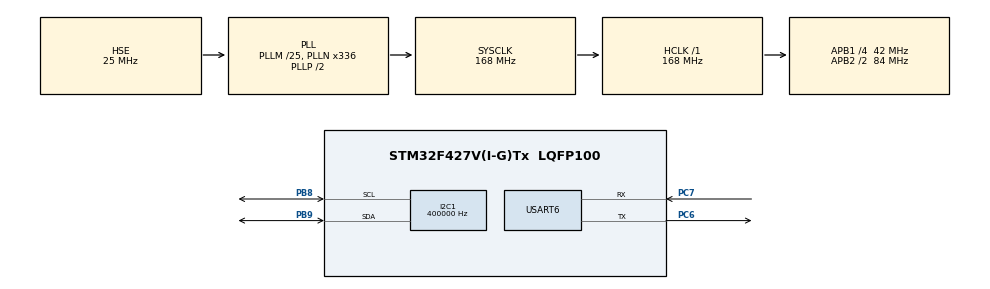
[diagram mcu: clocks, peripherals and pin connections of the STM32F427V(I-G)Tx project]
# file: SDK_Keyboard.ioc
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Mcu.Family=STM32F4
Mcu.Name=STM32F427V(I-G)Tx
Mcu.Package=LQFP100
NVIC.PriorityGroup=NVIC_PRIORITYGROUP_4
PA13.Mode=JTAG_5_pins
PA13.Signal=SYS_JTMS-SWDIO
PA14.Mode=JTAG_5_pins
PA14.Signal=SYS_JTCK-SWCLK
PA15.Mode=JTAG_5_pins
PA15.Signal=SYS_JTDI
PB3.Mode=JTAG_5_pins
PB3.Signal=SYS_JTDO-SWO
PB4.Mode=JTAG_5_pins
PB4.Signal=SYS_JTRST
PB8.Mode=I2C
PB8.Signal=I2C1_SCL
PB9.Mode=I2C
PB9.Signal=I2C1_SDA
PC6.Mode=Asynchronous
PC6.Signal=USART6_TX
PC7.Mode=Asynchronous
PC7.Signal=USART6_RX
PH0-OSC_IN.Mode=HSE-External-Oscillator
PH0-OSC_IN.Signal=RCC_OSC_IN
PH1-OSC_OUT.Mode=HSE-External-Oscillator
PH1-OSC_OUT.Signal=RCC_OSC_OUT
ProjectManager.HeapSize=0x200
ProjectManager.StackSize=0x400
ProjectManager.TargetToolchain=STM32CubeIDE
RCC.48MHZClocksFreq_Value=84000000
RCC.AHBFreq_Value=168000000
RCC.APB1CLKDivider=RCC_HCLK_DIV4
RCC.APB1Freq_Value=42000000
RCC.APB1TimFreq_Value=84000000
RCC.APB2CLKDivider=RCC_HCLK_DIV2
RCC.APB2Freq_Value=84000000
RCC.APB2TimFreq_Value=168000000
RCC.CortexFreq_Value=168000000
RCC.HCLKFreq_Value=168000000
RCC.HSE_VALUE=25000000
RCC.HSI_VALUE=16000000
RCC.LSE_VALUE=32768
RCC.PLLM=25
RCC.PLLN=336
RCC.PLLSourceVirtual=RCC_PLLSOURCE_HSE
RCC.SYSCLKFreq_VALUE=168000000
RCC.SYSCLKSource=RCC_SYSCLKSOURCE_PLLCLK
RCC.VCOOutputFreq_Value=336000000
USART6.VirtualMode=VM_ASYNC
board=custom
I2C1.ClockSpeed=400000

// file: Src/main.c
/* USER CODE BEGIN Header */
/**
  ******************************************************************************
  * @file           : main.c
  * @brief          : Main program body
  ******************************************************************************
  * @attention
  *
  * <h2><center>&copy; Copyright (c) 2019 STMicroelectronics.
  * All rights reserved.</center></h2>
  *
  * This software component is licensed by ST under BSD 3-Clause license,
  * the "License"; You may not use this file except in compliance with the
  * License. You may obtain a copy of the License at:
  *                        opensource.org/licenses/BSD-3-Clause
  *
  ******************************************************************************
  */
/* USER CODE END Header */

#include "main.h"
#include "i2c.h"
#include "usart.h"
#include "gpio.h"

/* USER CODE BEGIN Includes */
#include "FreeRTOS.h"
#include "task.h"
#include "queue.h"
#include "semphr.h"
#include "kb.h"
#include "sdk_uart.h"
#include "pca9538.h"
#include "oled.h"
#include "fonts.h"
#include "audio_clip.h"
#include "audio_adpcm.h"
#include <stdint.h>
#include <limits.h>
#include <stdio.h>
#include <string.h>
/* USER CODE END Includes */

void SystemClock_Config(void);
/* USER CODE BEGIN PFP */
static void Pong_InitRTOS(void);
static void Audio_Init(void);
/* USER CODE END PFP */

int main(void)
{

  /* MCU Configuration--------------------------------------------------------*/

  /* Reset of all peripherals, Initializes the Flash interface and the Systick. */
  HAL_Init();

  /* Configure the system clock */
  SystemClock_Config();

  /* Initialize all configured peripherals */
  MX_GPIO_Init();
  MX_I2C1_Init();
  MX_USART6_UART_Init();
  /* USER CODE BEGIN 2 */
  if (!oled_Init() || Set_Keyboard() != HAL_OK) Error_Handler();
  Audio_Init();
  Pong_InitRTOS();

  /* USER CODE END 2 */

  /* Infinite loop */
  while (1)
  {

    /* USER CODE BEGIN 3 */
      /* The FreeRTOS scheduler owns execution after Pong_InitRTOS(). */

  }
  /* USER CODE END 3 */
}

void SystemClock_Config(void)
{
  RCC_OscInitTypeDef RCC_OscInitStruct = {0};
  RCC_ClkInitTypeDef RCC_ClkInitStruct = {0};

  /** Configure the main internal regulator output voltage
  */
  __HAL_RCC_PWR_CLK_ENABLE();
  __HAL_PWR_VOLTAGESCALING_CONFIG(PWR_REGULATOR_VOLTAGE_SCALE1);
  /** Initializes the CPU, AHB and APB busses clocks
  */
  RCC_OscInitStruct.OscillatorType = RCC_OSCILLATORTYPE_HSE;
  RCC_OscInitStruct.HSEState = RCC_HSE_ON;
  RCC_OscInitStruct.PLL.PLLState = RCC_PLL_ON;
  RCC_OscInitStruct.PLL.PLLSource = RCC_PLLSOURCE_HSE;
  RCC_OscInitStruct.PLL.PLLM = 25;
  RCC_OscInitStruct.PLL.PLLN = 336;
  RCC_OscInitStruct.PLL.PLLP = RCC_PLLP_DIV2;
  RCC_OscInitStruct.PLL.PLLQ = 4;
  if (HAL_RCC_OscConfig(&RCC_OscInitStruct) != HAL_OK)
  {
    Error_Handler();
  }
  /** Initializes the CPU, AHB and APB busses clocks
  */
  RCC_ClkInitStruct.ClockType = RCC_CLOCKTYPE_HCLK|RCC_CLOCKTYPE_SYSCLK
                              |RCC_CLOCKTYPE_PCLK1|RCC_CLOCKTYPE_PCLK2;
  RCC_ClkInitStruct.SYSCLKSource = RCC_SYSCLKSOURCE_PLLCLK;
  RCC_ClkInitStruct.AHBCLKDivider = RCC_SYSCLK_DIV1;
  RCC_ClkInitStruct.APB1CLKDivider = RCC_HCLK_DIV4;
  RCC_ClkInitStruct.APB2CLKDivider = RCC_HCLK_DIV2;

  if (HAL_RCC_ClockConfig(&RCC_ClkInitStruct, FLASH_LATENCY_5) != HAL_OK)
  {
    Error_Handler();
  }
}

/* USER CODE BEGIN 4 */
/* PONG CORE BEGIN: hardware-independent rules, coordinates in 1/512 pixel (ball speed halved). */
#define KEY_1    (1u << 0)
#define KEY_2    (1u << 1)
#define KEY_3    (1u << 2)
#define KEY_5    (1u << 4)
#define KEY_7    (1u << 6)
#define KEY_0    (1u << 10)
#define KEY_9    (1u << 8)
#define Q 512
#define FIELD_TOP 14
#define FIELD_BOTTOM 62
#define PADDLE_HEIGHT 14
#define WIN_SCORE 7
#define GAME_PERIOD_MS 10

typedef enum { MENU, COUNTDOWN, PLAYING, PAUSED, FINISHED } GameMode;
typedef struct {
  GameMode mode;
  int32_t left_y, right_y, ball_x, ball_y, vx, vy;
  uint32_t deadline;
  uint16_t rally, best_rally;
  uint8_t left_score, right_score, winner, serve_id, countdown;
  int8_t serve_direction;
} Pong;

static int32_t Clamp(int32_t value, int32_t low, int32_t high)
{
  return value < low ? low : value > high ? high : value;
}

static void Pong_Serve(Pong *g, uint32_t now, uint32_t delay)
{
  g->ball_x = 64 * Q;
  g->ball_y = 38 * Q;
  g->vx = g->serve_direction * 230;
  g->vy = (g->serve_id++ & 1u) ? 115 : -115;
  g->rally = 0;
  g->deadline = now + delay;
  g->countdown = (uint8_t)((delay + 999u) / 1000u);
  g->mode = COUNTDOWN;
}

static void Pong_Init(Pong *g)
{
  memset(g, 0, sizeof(*g));
  g->left_y = g->right_y = 31 * Q;
  g->ball_x = 64 * Q;
  g->ball_y = 38 * Q;
  g->serve_direction = 1;
  g->mode = MENU;
}

static void Pong_Start(Pong *g, uint32_t now)
{
  uint16_t best = g->best_rally;
  Pong_Init(g);
  g->best_rally = best;
  Pong_Serve(g, now, 3000);
}

static void Pong_MovePaddles(Pong *g, uint16_t keys)
{
  int32_t step = 840; /* 164 pixels/second, independent of OLED refresh. */
  int left = !!(keys & KEY_7) - !!(keys & KEY_1);
  int right = !!(keys & KEY_9) - !!(keys & KEY_3);
  g->left_y = Clamp(g->left_y + left * step, FIELD_TOP * Q,
                     (FIELD_BOTTOM - PADDLE_HEIGHT + 1) * Q);
  g->right_y = Clamp(g->right_y + right * step, FIELD_TOP * Q,
                      (FIELD_BOTTOM - PADDLE_HEIGHT + 1) * Q);
}

static void Pong_Bounce(Pong *g, int32_t paddle_y, int direction)
{
  int32_t speed = g->vx < 0 ? -g->vx : g->vx;
  int32_t offset = g->ball_y - (paddle_y + (PADDLE_HEIGHT / 2) * Q);
  speed = Clamp(speed + 22, 230, 650); /* Faster on every return, with a cap. */
  g->vx = direction * speed;
  g->vy = Clamp(offset * speed / (8 * Q), -500, 500);
  if (g->vy > -65 && g->vy < 65) g->vy = offset < 0 ? -65 : 65;
  ++g->rally;
  if (g->rally > g->best_rally) g->best_rally = g->rally;
}

/* Returns the player who scored (0 = no goal). */
static uint8_t Pong_Physics(Pong *g, uint32_t now)
{
  int32_t old_x = g->ball_x, old_y = g->ball_y;
  int32_t next_x = old_x + g->vx, next_y = old_y + g->vy;
  int32_t top = (FIELD_TOP + 1) * Q, bottom = (FIELD_BOTTOM - 1) * Q;
  if (next_y < top) { next_y = 2 * top - next_y; g->vy = -g->vy; }
  if (next_y > bottom) { next_y = 2 * bottom - next_y; g->vy = -g->vy; }
  g->ball_y = next_y;

  /* Test the crossed paddle plane; interpolate Y to prevent tunnelling. */
  int32_t plane = g->vx < 0 ? 7 * Q : 120 * Q;
  if ((g->vx < 0 && old_x >= plane && next_x <= plane) ||
      (g->vx > 0 && old_x <= plane && next_x >= plane)) {
    int32_t hit_y = old_y + (next_y - old_y) * (plane - old_x) / (next_x - old_x);
    int32_t paddle = g->vx < 0 ? g->left_y : g->right_y;
    if (hit_y + Q >= paddle && hit_y - Q <= paddle + (PADDLE_HEIGHT - 1) * Q) {
      int direction = g->vx < 0 ? 1 : -1;
      g->ball_y = hit_y;
      Pong_Bounce(g, paddle, direction);
      next_x = plane + direction * Q;
    }
  }
  g->ball_x = next_x;
  uint8_t scorer = 0;
  if (next_x < -Q) { ++g->right_score; scorer = 2; g->serve_direction = -1; }
  if (next_x > 128 * Q) { ++g->left_score; scorer = 1; g->serve_direction = 1; }
  if (scorer) {
    if (g->left_score >= WIN_SCORE || g->right_score >= WIN_SCORE) {
      g->winner = scorer;
      g->mode = FINISHED;
    } else {
      Pong_Serve(g, now, 1500);
    }
  }
  return scorer;
}

static uint8_t Pong_Tick(Pong *g, uint16_t held, uint16_t pressed, uint32_t now)
{
  if (pressed & KEY_5) { g->mode = MENU; return 0; }
  if (g->mode == MENU || g->mode == FINISHED) {
    if (pressed & KEY_2) Pong_Start(g, now);
    return 0;
  }
  if (pressed & KEY_0) {
    if (g->mode == PLAYING) g->mode = PAUSED;
    else if (g->mode == PAUSED) g->mode = PLAYING;
    return 0;
  }
  if (g->mode == PAUSED) return 0;
  Pong_MovePaddles(g, held);
  if (g->mode == COUNTDOWN) {
    if ((int32_t)(now - g->deadline) >= 0) { g->mode = PLAYING; g->countdown = 0; }
    else g->countdown = (uint8_t)((g->deadline - now + 999u) / 1000u);
    return 0;
  }
  return Pong_Physics(g, now);
}
/* PONG CORE END */

/* AUDIO PLAYER BEGIN: 8 kHz IMA ADPCM in Flash, 40 kHz PWM on PA5.
 * TIM6 updates one sample per interrupt. No busy wait or audio RAM buffer.
 * TIM2_CH1/PA5 is the sound output used by the SDK_Buzzer example.
 */
#define AUDIO_PWM_RATE 40000u
static ADPCMState audio_decoder;
static uint32_t audio_pwm_period;
static volatile uint32_t audio_sample_pos, audio_playing, audio_completed;

/* May run from the audio interrupt; it never calls the FreeRTOS API. */
static void Audio_Disable(void)
{
  TIM6->DIER = 0;
  TIM6->CR1 = 0;
  TIM6->SR = 0;
  TIM2->CCER = 0;
  TIM2->CR1 &= ~TIM_CR1_CEN;
  TIM2->CCR1 = 0;
  audio_playing = 0;
}

static void Audio_Init(void)
{
  __HAL_RCC_GPIOA_CLK_ENABLE();
  __HAL_RCC_TIM2_CLK_ENABLE();
  __HAL_RCC_TIM6_CLK_ENABLE();
  GPIO_InitTypeDef pin = {0};
  pin.Pin = GPIO_PIN_5;
  pin.Mode = GPIO_MODE_AF_PP;
  pin.Pull = GPIO_NOPULL;
  pin.Speed = GPIO_SPEED_FREQ_HIGH;
  pin.Alternate = GPIO_AF1_TIM2;
  HAL_GPIO_Init(GPIOA, &pin);

  uint32_t timer_clock = HAL_RCC_GetPCLK1Freq();
  if ((RCC->CFGR & RCC_CFGR_PPRE1) != 0) timer_clock *= 2;
  audio_pwm_period = timer_clock / AUDIO_PWM_RATE;
  if (audio_pwm_period < 2 || timer_clock % AUDIO_SAMPLE_RATE != 0 ||
      timer_clock / AUDIO_SAMPLE_RATE > 65536) Error_Handler();
  TIM2->CR1 = TIM_CR1_ARPE;
  TIM2->PSC = 0;
  TIM2->ARR = audio_pwm_period - 1;
  TIM2->CCR1 = 0;
  TIM2->CCMR1 = TIM_CCMR1_OC1M_1 | TIM_CCMR1_OC1M_2 | TIM_CCMR1_OC1PE;
  TIM2->CCER = 0;
  TIM2->EGR = TIM_EGR_UG;
  TIM2->SR = 0;

  TIM6->CR1 = 0;
  TIM6->PSC = 0;
  TIM6->ARR = timer_clock / AUDIO_SAMPLE_RATE - 1;
  TIM6->DIER = 0;
  TIM6->EGR = TIM_EGR_UG;
  TIM6->SR = 0;
  /* Lower urgency than the FreeRTOS interrupt ceiling, above SysTick. */
  HAL_NVIC_SetPriority(TIM6_DAC_IRQn, 6, 0);
  HAL_NVIC_EnableIRQ(TIM6_DAC_IRQn);
}

static void Audio_Stop(void)
{
  taskENTER_CRITICAL();
  Audio_Disable();
  taskEXIT_CRITICAL();
}

static void Audio_Start(void)
{
  taskENTER_CRITICAL();
  Audio_Disable();
  audio_decoder.predictor = audio_decoder.index = 0;
  audio_sample_pos = 0;
  TIM2->CNT = 0;
  TIM2->CCR1 = audio_pwm_period / 2;
  TIM2->EGR = TIM_EGR_UG;
  TIM2->SR = 0;
  TIM2->CCER = TIM_CCER_CC1E;
  TIM2->CR1 |= TIM_CR1_CEN;
  TIM6->CNT = 0;
  TIM6->EGR = TIM_EGR_UG;
  TIM6->SR = 0;
  audio_playing = 1;
  TIM6->DIER = TIM_DIER_UIE;
  TIM6->CR1 = TIM_CR1_CEN;
  taskEXIT_CRITICAL();
}

void TIM6_DAC_IRQHandler(void)
{
  if (!(TIM6->SR & TIM_SR_UIF)) return;
  TIM6->SR = 0;
  if (!audio_playing) return;
  uint32_t position = audio_sample_pos;
  if (position >= AUDIO_SAMPLE_COUNT) {
    Audio_Disable();
    ++audio_completed;
    return;
  }
  uint8_t packed = audio_clip[position / 2];
  uint8_t code = (position & 1u) ? packed >> 4 : packed & 15u;
  /* Deliberate hard clipping for a loud, distorted overdrive effect. */
  int32_t pcm = (int32_t)ADPCM_Decode(&audio_decoder, code) * 8;
  if (pcm > 32767) pcm = 32767;
  if (pcm < -32768) pcm = -32768;
  TIM2->CCR1 = ((uint32_t)(pcm + 32768) * audio_pwm_period) >> 16;
  audio_sample_pos = position + 1;
}

/* Only a transition to FINISHED starts the clip, once per completed match. */
static void Audio_OnModeChange(GameMode before, GameMode after)
{
  if (before == after) return;
  if (after == FINISHED) Audio_Start();
  else if (before == FINISHED || after == MENU) Audio_Stop();
}
/* AUDIO PLAYER END */

/* Each task owns its data. Only copies pass through the queues. */
typedef struct { uint16_t held; uint32_t sampled_at; } InputState;
static QueueHandle_t input_queue, frame_queue, log_queue;
static SemaphoreHandle_t i2c_mutex;
static TaskHandle_t keyboard_task, game_task, display_task;
static volatile uint32_t keyboard_scans, game_ticks, display_frames, i2c_errors;

static void Pong_Log(const char *message)
{
  char copy[64] = {0};
  snprintf(copy, sizeof(copy), "%s", message);
  (void)xQueueSend(log_queue, copy, 0);
}

/* Scan all 12 keys as a bit mask: both players can hold keys at once.
 * Only the active row is an output driven low; other rows are inputs.
 * Three or more keys can produce ghosting on a matrix without diodes. */
static uint16_t Pong_ReadKeys(void)
{
  static const uint8_t rows[4] = {ROW1, ROW2, ROW3, ROW4};
  uint16_t result = 0;
  uint8_t idle = 0xFF;
  uint8_t failed = 0, count = 0;
  xSemaphoreTake(i2c_mutex, portMAX_DELAY);
  for (uint8_t row = 0; row < 4; ++row) {
    uint8_t config = rows[row], input = 0x70;
    if (PCA9538_Write_Register(0xE2, CONFIG, &config) != HAL_OK) {
      failed = 1; break;
    }
    vTaskDelay(pdMS_TO_TICKS(1)); /* Matrix settling, yields the CPU. */
    if (PCA9538_Read_Inputs(0xE2, &input) != HAL_OK) { failed = 1; break; }
    for (uint8_t column = 0; column < 3; ++column) {
      if (!(input & (0x10u << column))) {
        result |= 1u << (row * 3 + column);
        ++count;
      }
    }
  }
  if (PCA9538_Write_Register(0xE2, CONFIG, &idle) != HAL_OK) failed = 1;
  xSemaphoreGive(i2c_mutex);
  if (failed) { ++i2c_errors; return 0; }
  return count > 2 ? 0 : result;
}

static void KeyboardTask(void *argument)
{
  (void)argument;
  TickType_t wake = xTaskGetTickCount();
  uint16_t stable = 0, candidate = 0;
  uint32_t changed[12] = {0};
  for (;;) {
    uint16_t raw = Pong_ReadKeys();
    uint32_t now = HAL_GetTick();
    for (uint8_t key = 0; key < 12; ++key) {
      uint16_t bit = 1u << key;
      if ((raw ^ candidate) & bit) { candidate ^= bit; changed[key] = now; }
      if (now - changed[key] >= 20) {
        stable = (stable & ~bit) | (candidate & bit);
      }
    }
    InputState state = { stable, now };
    xQueueOverwrite(input_queue, &state);
    ++keyboard_scans;
    vTaskDelayUntil(&wake, pdMS_TO_TICKS(10));
  }
}

static void GameTask(void *argument)
{
  (void)argument;
  Pong game;
  Pong_Init(&game);
  TickType_t wake = xTaskGetTickCount();
  uint16_t previous = 0;
  for (;;) {
    InputState input = {0};
    uint32_t now = HAL_GetTick();
    (void)xQueuePeek(input_queue, &input, 0);
    if (now - input.sampled_at > 100) input.held = 0;
    uint16_t pressed = input.held & ~previous;
    previous = input.held;
    GameMode old_mode = game.mode;
    uint8_t goal = Pong_Tick(&game, input.held, pressed, now);
    Audio_OnModeChange(old_mode, game.mode);
    if (goal) {
      char line[64];
      snprintf(line, sizeof(line), "P%u scores! %u:%u; best rally %u\r\n",
               goal, game.left_score, game.right_score, game.best_rally);
      Pong_Log(line);
    }
    if (old_mode != game.mode) {
      static const char * const modes[] = {"MENU", "COUNTDOWN", "PLAYING", "PAUSED", "FINISHED"};
      Pong_Log(modes[game.mode]);
    }
    xQueueOverwrite(frame_queue, &game);
    ++game_ticks;
    vTaskDelayUntil(&wake, pdMS_TO_TICKS(GAME_PERIOD_MS));
  }
}

static void Text(uint8_t x, uint8_t y, const char *text)
{
  oled_SetCursor(x, y);
  oled_WriteString((char *)text, Font_7x10, White);
}

static void Center(uint8_t y, const char *text)
{
  size_t width = strlen(text) * 7;
  Text(width < OLED_WIDTH ? (OLED_WIDTH - width) / 2 : 0, y, text);
}

static void FillRect(int x, int y, int width, int height)
{
  for (int yy = y; yy < y + height; ++yy)
    for (int xx = x; xx < x + width; ++xx)
      if (xx >= 0 && yy >= 0 && xx < OLED_WIDTH && yy < OLED_HEIGHT)
        oled_DrawPixel((uint8_t)xx, (uint8_t)yy, White);
}

static void Pong_Draw(const Pong *g)
{
  char line[19];
  oled_Fill(Black);
  if (g->mode == MENU) {
    Center(0, "PONG - FIRST TO 7");
    Text(0, 11, "P1 1:UP 7:DOWN");
    Text(0, 22, "P2 3:UP 9:DOWN");
    Text(0, 33, "2:START 0:PAUSE");
    snprintf(line, sizeof(line), "5:EXIT  BEST:%u", g->best_rally);
    Text(0, 44, line);
    Center(54, "HOLD KEYS TO MOVE");
    return;
  }
  if (g->mode == FINISHED) {
    Center(0, "MATCH COMPLETE!");
    snprintf(line, sizeof(line), "PLAYER %u WINS", g->winner);
    Center(13, line);
    snprintf(line, sizeof(line), "%u : %u", g->left_score, g->right_score);
    Center(25, line);
    snprintf(line, sizeof(line), "BEST RALLY: %u", g->best_rally);
    Center(37, line);
    Center(51, "2:REMATCH 5:MENU");
    return;
  }
  snprintf(line, sizeof(line), "P1 %u", g->left_score);
  Text(0, 0, line);
  snprintf(line, sizeof(line), "%u P2", g->right_score);
  Text(93, 0, line);
  Text(50, 0, "PONG");
  oled_DrawHLine(0, 127, 12, White);
  oled_DrawHLine(0, 127, 63, White);
  for (uint8_t y = FIELD_TOP; y < FIELD_BOTTOM; y += 6) FillRect(63, y, 1, 3);
  FillRect(3, g->left_y / Q, 3, PADDLE_HEIGHT);
  FillRect(122, g->right_y / Q, 3, PADDLE_HEIGHT);
  if (g->mode == COUNTDOWN) {
    FillRect(37, 24, 54, 24);
    oled_SetCursor(43, 26);
    oled_WriteString("READY", Font_7x10, Black);
    snprintf(line, sizeof(line), "%u", g->countdown);
    oled_SetCursor(60, 37);
    oled_WriteString(line, Font_7x10, Black);
  } else if (g->mode == PAUSED) {
    FillRect(22, 25, 84, 24);
    oled_SetCursor(43, 26);
    oled_WriteString("PAUSE", Font_7x10, Black);
    oled_SetCursor(29, 37);
    oled_WriteString("0:CONTINUE", Font_7x10, Black);
  } else {
    FillRect(g->ball_x / Q - 1, g->ball_y / Q - 1, 3, 3);
  }
}

static void DisplayTask(void *argument)
{
  (void)argument;
  Pong frame;
  Pong_Init(&frame);
  TickType_t wake = xTaskGetTickCount();
  for (;;) {
    (void)xQueuePeek(frame_queue, &frame, 0);
    Pong_Draw(&frame);
    /* Release the I2C mutex between OLED pages, so keyboard scans can run. */
    for (uint8_t page = 0; page < 8; ++page) {
      xSemaphoreTake(i2c_mutex, portMAX_DELAY);
      if (oled_UpdatePage(page) != HAL_OK) ++i2c_errors;
      xSemaphoreGive(i2c_mutex);
    }
    ++display_frames;
    vTaskDelayUntil(&wake, pdMS_TO_TICKS(40));
  }
}

static void LogTask(void *argument)
{
  (void)argument;
  char line[64];
  for (;;) {
    if (xQueueReceive(log_queue, line, portMAX_DELAY) == pdPASS) {
      HAL_UART_Transmit(&huart6, (uint8_t *)line, strlen(line), 20);
      HAL_UART_Transmit(&huart6, (uint8_t *)"\r\n", 2, 20);
    }
  }
}

static void Pong_InitRTOS(void)
{
  input_queue = xQueueCreate(1, sizeof(InputState));
  frame_queue = xQueueCreate(1, sizeof(Pong));
  log_queue = xQueueCreate(8, 64);
  i2c_mutex = xSemaphoreCreateMutex();
  if (!input_queue || !frame_queue || !log_queue || !i2c_mutex) Error_Handler();
  if (xTaskCreate(KeyboardTask, "Keyboard", 384, NULL, 3, &keyboard_task) != pdPASS ||
      xTaskCreate(GameTask, "Pong", 512, NULL, 2, &game_task) != pdPASS ||
      xTaskCreate(DisplayTask, "OLED", 512, NULL, 1, &display_task) != pdPASS ||
      xTaskCreate(LogTask, "UART", 256, NULL, 1, NULL) != pdPASS) Error_Handler();
  Pong_Log("PONG FreeRTOS: 1/7=P1 3/9=P2 2=start 0=pause 5=menu");
  vTaskStartScheduler();
  Error_Handler();
}

void vApplicationMallocFailedHook(void) { Error_Handler(); }
void vApplicationStackOverflowHook(TaskHandle_t task, char *name)
{
  (void)task; (void)name;
  Error_Handler();
}
/* USER CODE END 4 */

void Error_Handler(void)
{
  /* USER CODE BEGIN Error_Handler_Debug */
  /* При ошибке инициализации продолжение работы небезопасно:
   * останавливаемся здесь; в отладчике видна точка отказа. */
  __disable_irq();
  while (1) { }

  /* USER CODE END Error_Handler_Debug */
}

/************************ (C) COPYRIGHT STMicroelectronics *****END OF FILE****/
